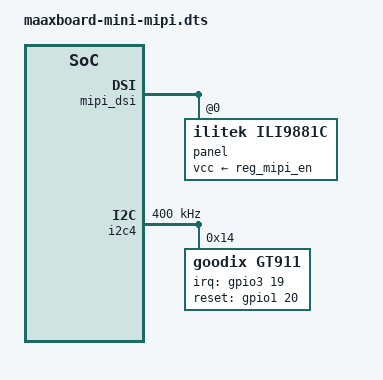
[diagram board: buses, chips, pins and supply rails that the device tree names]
/*
 * Copyright 2019 EMBEST
 *
 * This program is free software; you can redistribute it and/or
 * modify it under the terms of the GNU General Public License
 * as published by the Free Software Foundation; either version 2
 * of the License, or (at your option) any later version.
 *
 * This program is distributed in the hope that it will be useful,
 * but WITHOUT ANY WARRANTY; without even the implied warranty of
 * MERCHANTABILITY or FITNESS FOR A PARTICULAR PURPOSE.  See the
 * GNU General Public License for more details.
 */

#include "maaxboard-mini.dtsi"
#include "maaxboard-mini-extended-gpio.dtsi"

&mipi_dsi {
	panel@0 {
		compatible = "ilitek,ili9881c";
		reg = <0>;
		lcd-model = "sh720128t005";
		vcc-supply = <&reg_mipi_en>;
		dsi-lanes = <2>;
		status = "okay";
	};
};

&i2c4 {
	clock-frequency = <400000>;
	pinctrl-names = "default";
	pinctrl-0 = <&pinctrl_i2c4>;
	status = "okay";

    gt911: gt911_ts@14 {
		compatible = "goodix,gt911";
		reg = <0x14>;
		pinctrl-names = "default";
		pinctrl-0 = <&pinctrl_ts>;
		interrupt-parent = <&gpio3>;
		interrupts = <19 2>;
		irq-gpios = <&gpio3 19 GPIO_ACTIVE_HIGH>;
		reset-gpios = <&gpio1 20 GPIO_ACTIVE_HIGH>;
		touchscreen-size-x = <720>;
		touchscreen-size-y = <1280>;
		status = "okay";
	};
};
